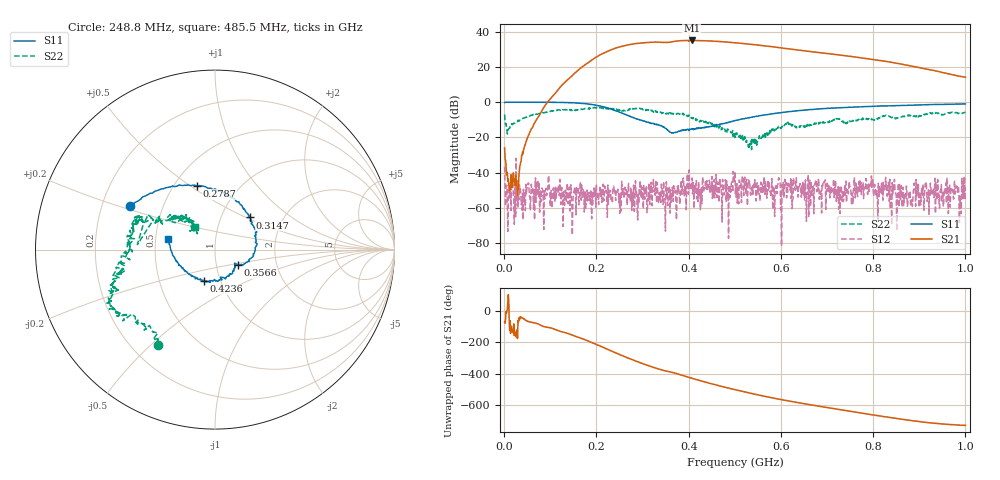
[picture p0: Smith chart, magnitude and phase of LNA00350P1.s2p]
! Created with skrf 1.9.0 (http://scikit-rf.org).
# Hz S RI R 50.0
!freq ReS11 ImS11 ReS21 ImS21 ReS12 ImS12 ReS22 ImS22
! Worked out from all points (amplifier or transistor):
!   1001 points, 1 MHz to 1 GHz, reference 50 ohm
!   highest |S21| = 35.0 dB at 406.6 MHz (marker M1)
!   |S21| within 3 dB of that: 260.3 MHz to 563 MHz (302.6 MHz wide, 73.5 % of centre)
!   unconditionally stable (mu >= 1): 224.8 MHz to 284.6 MHz; 294.8 MHz to 400.6 MHz; 400.6 MHz to end of sweep (the widest 3 of 33)
!   at 166.8 MHz: K = 2.51, MAG = 30.8 dB, |S12| = -55.6 dB
!   at 500.5 MHz: K = 1.11, MAG = 34.6 dB, |S12| = -39.3 dB
!   at 1 GHz: K = 3.51, MAG = 22.9 dB, |S12| = -48.3 dB
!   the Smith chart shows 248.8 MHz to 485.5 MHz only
!   S11 on the Smith chart (normalised r, x): 248.8 MHz: 0.32, +0.22; 278.7 MHz: 0.65, +0.53; 314.7 MHz: 1.37, +0.53; 356.6 MHz: 1.27, -0.22; 423.6 MHz: 0.83, -0.30; 485.5 MHz: 0.58, +0.07
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1000000  0.9742 0.00553  0.0144 -0.0485  -0.00936 0.0114  0.338 0.2923
1.08892e8  0.5039 -0.8586  -0.775 -1.497  -0.00147 -0.0025  0.4344 -0.3615
1.67833e8  -0.2687 -0.8864  -9.743 -0.6195  0.0043 -0.00138  0.074 -0.6352
2.11789e8  -0.6936 -0.3126  -15.13 17.77  -0.00144 0.000109  -0.1681 -0.6619
2.29771e8  -0.6534 -0.00641  -8.902 28.48  -0.000174 0.00285  -0.2457 -0.6087
2.48752e8  -0.4715 0.2409  4.404 36.27  0.000315 0.00138  -0.315 -0.5309
2.78722e8  -0.1002 0.3554  30.3 32.68  -0.000952 -0.00064  -0.5543 -0.3517
3.14686e8  0.1947 0.1789  49.21 6.917  -0.0034 0.00172  -0.5679 -0.1765
3.34666e8  0.2234 0.00815  49.49 -9.861  0.00132 -0.000175  -0.5396 -0.0833
3.56644e8  0.1271 -0.085  44.32 -23.16  -0.0013 0.00203  -0.4696 0.0314
3.77623e8  0.1124 -0.0954  39.67 -37.73  -0.00414 0.000952  -0.4571 0.13
4.06594e8  0.0235 -0.171  19.5 -53  -0.00111 0.00459  -0.3111 0.1855
4.23577e8  -0.0628 -0.1759  5.315 -55.62  -0.000146 0.00333  -0.2101 0.1737
4.5055e8  -0.1798 -0.1004  -14.87 -52.53  0.00775 0.000477  -0.1621 0.1954
4.85515e8  -0.2597 0.0588  -33.76 -37.65  0.00146 0.00222  -0.1137 0.1248
5.005e8  -0.2649 0.1481  -38.97 -29.35  0.0107 0.00197  -0.0877 0.0487
5.39461e8  -0.1875 0.3351  -42.49 -8.159  -0.00233 -0.000815  -0.0662 -0.0391
5.84416e8  0.011 0.4765  -35.52 10.76  0.00246 -0.00341  -0.1473 -0.0897
6.67333e8  0.3949 0.4787  -13.09 23.45  6.24e-05 -0.00225  -0.2302 -0.0482
7.55245e8  0.6707 0.269  4.287 19.06  -0.00235 -0.000771  -0.2975 0.0111
8.34166e8  0.7881 0.0234  10.49 9.175  -0.00226 -0.00126  -0.397 -0.0185
1e9  0.7277 -0.5186  5.018 -0.928  -0.00359 0.00138  -0.3822 0.331
